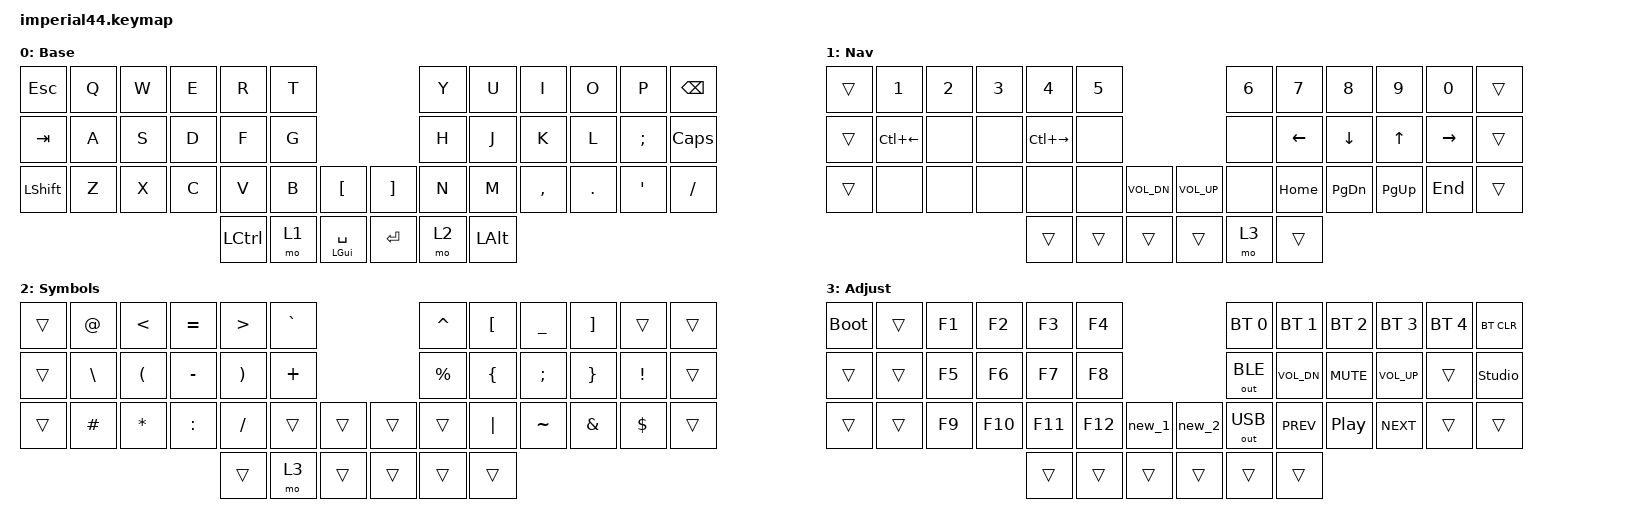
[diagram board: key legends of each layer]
#include "keys_ru.h"
#include <behaviors.dtsi>
#include <dt-bindings/zmk/bt.h>
#include <dt-bindings/zmk/keys.h>
#include <dt-bindings/zmk/outputs.h>

/ {
    macros {
        new_1: new_1 {
            compatible = "zmk,behavior-macro";
            #binding-cells = <0>;
            bindings = <&kp LS(W) &kp E &kp D &kp LS(N) &kp M &kp D &kp N7 &kp N4>;
            label = "NEW_1";
        };

        new_2: new_2 {
            compatible = "zmk,behavior-macro";
            #binding-cells = <0>;
            bindings = <&kp LS(W) &kp E &kp D &kp N7 &kp N4 &kp LS(N) &kp M &kp D &kp N7 &kp N4 &kp LS(N4) &kp N0 &kp N0 &kp N3>;
            label = "NEW_2";
        };
    };

    keymap {
        compatible = "zmk,keymap";

        base {
            bindings = <
&kp ESC    &kp Q  &kp W  &kp E  &kp R      &kp T                               &kp Y  &kp U     &kp I      &kp O    &kp P     &kp BACKSPACE
&kp TAB    &kp A  &kp S  &kp D  &kp F      &kp G                               &kp H  &kp J     &kp K      &kp L    &kp SEMI  &kp CAPS
&kp LSHFT  &kp Z  &kp X  &kp C  &kp V      &kp B  &kp LBKT          &kp RBKT   &kp N  &kp M     &kp COMMA  &kp DOT  &kp SQT   &kp SLASH
                                &kp LCTRL  &mo 1  &mt LGUI SPACE    &kp ENTER  &mo 2  &kp LALT
            >;

            display-name = "Base";
        };

        nav {
            bindings = <
&trans  &kp N1              &kp N2  &kp N3  &kp N4               &kp N5                                &kp N6  &kp N7    &kp N8     &kp N9     &kp N0     &trans
&trans  &kp LC(LEFT_ARROW)  &none   &none   &kp LC(RIGHT_ARROW)  &none                                 &none   &kp LEFT  &kp DOWN   &kp UP     &kp RIGHT  &trans
&trans  &none               &none   &none   &none                &none   &kp C_VOL_DN    &kp C_VOL_UP  &none   &kp HOME  &kp PG_DN  &kp PG_UP  &kp END    &trans
                                            &trans               &trans  &trans          &trans        &mo 3   &trans
            >;

            display-name = "Nav";
        };

        sym {
            bindings = <
&trans  &kp AT    &kp LT    &kp EQUAL  &kp GT    &kp GRAVE                    &kp CARET  &kp LBKT  &kp UNDER  &kp RBKT  &trans    &trans
&trans  &kp BSLH  &kp LPAR  &kp MINUS  &kp RPAR  &kp PLUS                     &kp PRCNT  &kp LBRC  &kp SEMI   &kp RBRC  &kp EXCL  &trans
&trans  &kp HASH  &kp STAR  &kp COLON  &kp FSLH  &trans     &trans    &trans  &trans     &kp PIPE  &kp TILDE  &kp AMPS  &kp DLLR  &trans
                                       &trans    &mo 3      &trans    &trans  &trans     &trans
            >;

            display-name = "Symbols";
        };

        adj {
            bindings = <
&bootloader  &trans  &kp F1  &kp F2   &kp F3   &kp F4                     &bt BT_SEL 0  &bt BT_SEL 1  &bt BT_SEL 2      &bt BT_SEL 3  &bt BT_SEL 4  &bt BT_CLR
&trans       &trans  &kp F5  &kp F6   &kp F7   &kp F8                     &out OUT_BLE  &kp C_VOL_DN  &kp C_MUTE        &kp C_VOL_UP  &trans        &studio_unlock
&trans       &trans  &kp F9  &kp F10  &kp F11  &kp F12  &new_1    &new_2  &out OUT_USB  &kp C_PREV    &kp C_PLAY_PAUSE  &kp C_NEXT    &trans        &trans
                                      &trans   &trans   &trans    &trans  &trans        &trans
            >;

            display-name = "Adjust";
        };
    };
};
